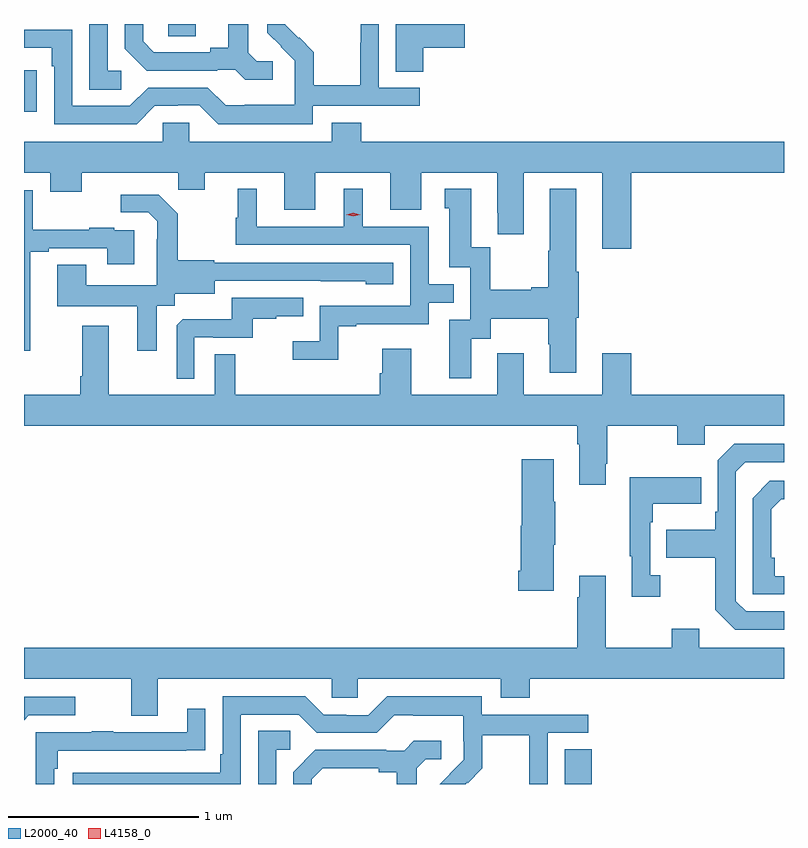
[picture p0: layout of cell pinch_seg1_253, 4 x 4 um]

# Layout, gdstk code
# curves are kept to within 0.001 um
import gdstk
lib = gdstk.Library(unit=1e-6, precision=1e-09)
def R(c, l, rs):  # rectangles x0, y0, x1, y1
    for r in rs: c.add(gdstk.rectangle(r[:2], r[2:], *l))
def P(c, l, *ps):  # polygons
    for p in ps: c.add(gdstk.Polygon(p, *l))
L2000_40 = (2000, 40)
L4158_0 = (4158, 0)

pinch_seg1_253 = lib.new_cell('pinch_seg1_253')
R(pinch_seg1_253, L2000_40, [(889.517,575.155,889.661,575.339), (886.672,578.694,886.739,578.912), (887.43,579.091,887.575,579.155), (888.176,579.153,888.355,579.155)])
P(pinch_seg1_253, L2000_40, [(888.192,578.724),(888.754,578.724),(888.754,578.82),(888.54,578.82),(888.54,579.155),(888.444,579.155),(888.444,579.056),(888.442,579.056),(888.442,578.833),(888.197,578.833),(888.197,579.007),(888.12,579.084),(888.117,579.081),(888.047,579.152),(888.047,579.155),(887.952,579.155),(887.952,579.11),(888.098,578.962),(888.098,578.865),(888.096,578.865),(888.096,578.731),(887.833,578.731),(887.833,578.727),(887.733,578.727),(887.64,578.82),(887.325,578.82),(887.229,578.724),(886.926,578.724),(886.926,579.126),(886.672,579.126),(886.672,579.03),(886.817,579.03),(886.817,578.933),(886.83,578.933),(886.83,578.628),(887.265,578.628),(887.361,578.724),(887.48,578.724),(887.48,578.727),(887.595,578.727),(887.695,578.627),(888.192,578.627)],
  [(887.98,578.958),(887.898,578.958),(887.851,579.005),(887.851,579.155),(887.747,579.155),(887.747,579.029),(887.651,579.029),(887.651,579.006),(887.356,579.006),(887.299,579.063),(887.299,579.155),(887.202,579.155),(887.202,579.026),(887.318,578.91),(887.69,578.91),(887.69,578.913),(887.784,578.913),(887.836,578.861),(887.98,578.861)],
  [(888.773,579.029),(888.991,579.029),(888.991,579.155),(888.629,579.155),(888.629,578.905),(888.773,578.905)],
  [(887.185,578.91),(887.112,578.91),(887.112,579.155),(887.016,579.155),(887.016,578.809),(887.185,578.809)],
  [(888.293,578.635),(888.293,578.536),(887.541,578.536),(887.541,578.634),(887.403,578.634),(887.403,578.536),(886.672,578.536),(886.672,578.372),(886.811,578.372),(886.811,578.273),(886.975,578.273),(886.975,578.372),(887.485,578.372),(887.485,578.282),(887.623,578.282),(887.623,578.372),(888.041,578.372),(888.041,578.178),(888.205,578.178),(888.205,578.372),(888.599,578.372),(888.599,578.178),(888.763,578.178),(888.763,578.372),(889.163,578.372),(889.163,578.161),(889.166,578.161),(889.166,578.049),(889.303,578.049),(889.303,578.372),(889.715,578.372),(889.715,577.971),(889.868,577.971),(889.868,578.372),(890.672,578.372),(890.672,578.536),(888.446,578.536),(888.446,578.635)],
  [(889.027,577.498),(889.129,577.498),(889.129,577.604),(889.432,577.604),(889.432,577.47),(889.439,577.47),(889.439,577.32),(889.579,577.32),(889.579,577.608),(889.592,577.608),(889.592,577.852),(889.579,577.852),(889.579,578.287),(889.439,578.287),(889.439,577.961),(889.432,577.961),(889.432,577.769),(889.343,577.769),(889.343,577.756),(889.125,577.756),(889.125,577.979),(889.027,577.979),(889.027,578.287),(888.887,578.287),(888.887,578.184),(888.911,578.184),(888.911,577.875),(889.02,577.875),(889.02,577.599),(888.911,577.599),(888.911,577.29),(889.027,577.29)],
  [(888.327,577.563),(888.421,577.563),(888.421,577.575),(888.801,577.575),(888.801,577.689),(888.935,577.689),(888.935,577.785),(888.801,577.785),(888.801,578.088),(888.454,578.088),(888.454,578.287),(888.356,578.287),(888.356,578.088),(887.896,578.088),(887.896,578.287),(887.798,578.287),(887.798,578.136),(887.787,578.136),(887.787,577.992),(888.705,577.992),(888.705,577.671),(888.228,577.671),(888.228,577.486),(888.087,577.486),(888.087,577.388),(888.327,577.388)],
  [(886.705,577.956),(886.801,577.956),(886.801,577.974),(887.111,577.974),(887.111,577.89),(887.251,577.89),(887.251,578.07),(887.147,578.07),(887.147,578.083),(887.015,578.083),(887.015,578.072),(886.717,578.072),(886.717,578.28),(886.672,578.28),(886.672,577.434),(886.705,577.434)],
  [(887.371,577.672),(887.466,577.672),(887.466,577.736),(887.677,577.736),(887.677,577.803),(888.471,577.802),(888.471,577.784),(888.616,577.784),(888.616,577.899),(887.673,577.899),(887.673,577.912),(887.481,577.912),(887.481,578.157),(887.381,578.257),(887.181,578.257),(887.181,578.163),(887.325,578.163),(887.372,578.116),(887.372,578.021),(887.37,578.021),(887.37,577.78),(886.999,577.78),(886.999,577.889),(886.847,577.889),(886.847,577.67),(887.267,577.67),(887.267,577.434),(887.371,577.434)],
  [(887.568,577.506),(887.668,577.506),(887.668,577.503),(887.876,577.503),(887.876,577.605),(887.999,577.605),(887.999,577.616),(888.143,577.616),(888.143,577.713),(887.766,577.713),(887.766,577.601),(887.507,577.601),(887.475,577.569),(887.475,577.289),(887.568,577.289)],
  [(889.735,576.841),(889.743,576.841),(889.743,577.04),(890.11,577.04),(890.11,576.941),(890.256,576.941),(890.256,577.04),(890.672,577.04),(890.672,577.204),(889.868,577.204),(889.868,577.423),(889.715,577.423),(889.715,577.204),(889.303,577.204),(889.303,577.423),(889.163,577.423),(889.163,577.204),(888.709,577.204),(888.709,577.447),(888.557,577.447),(888.557,577.317),(888.545,577.317),(888.545,577.204),(887.785,577.204),(887.785,577.418),(887.676,577.418),(887.676,577.204),(887.119,577.204),(887.119,577.567),(886.979,577.567),(886.979,577.3),(886.967,577.3),(886.967,577.204),(886.672,577.204),(886.672,577.04),(889.583,577.04),(889.583,576.944),(889.595,576.944),(889.595,576.729),(889.735,576.729)],
  [(890.672,576.063),(890.472,576.063),(890.418,576.117),(890.418,576.798),(890.469,576.849),(890.672,576.849),(890.672,576.945),(890.409,576.945),(890.322,576.858),(890.322,576.589),(890.31,576.589),(890.31,576.493),(890.053,576.493),(890.053,576.346),(890.31,576.346),(890.31,576.073),(890.415,575.967),(890.672,575.967)],
  [(889.459,576.413),(889.467,576.413),(889.467,576.641),(889.459,576.641),(889.459,576.865),(889.292,576.865),(889.292,576.513),(889.286,576.513),(889.286,576.277),(889.274,576.277),(889.274,576.173),(889.459,576.173)],
  [(890.02,576.254),(889.968,576.254),(889.968,576.533),(889.981,576.533),(889.981,576.629),(890.237,576.629),(890.237,576.769),(889.86,576.769),(889.86,576.353),(889.871,576.353),(889.871,576.141),(890.02,576.141)],
  [(890.672,576.249),(890.624,576.249),(890.624,576.346),(890.604,576.346),(890.604,576.6),(890.657,576.653),(890.672,576.653),(890.672,576.75),(890.598,576.75),(890.508,576.66),(890.508,576.153),(890.672,576.153)],
  [(890.08,575.971),(890.08,575.872),(889.735,575.872),(889.735,576.25),(889.595,576.25),(889.595,576.137),(889.583,576.137),(889.583,575.872),(886.672,575.872),(886.672,575.708),(887.237,575.708),(887.237,575.514),(887.377,575.514),(887.377,575.708),(888.291,575.708),(888.291,575.61),(888.429,575.61),(888.429,575.708),(889.181,575.708),(889.181,575.609),(889.334,575.609),(889.334,575.708),(890.672,575.708),(890.672,575.872),(890.227,575.872),(890.227,575.971)],
  [(887.814,575.52),(888.117,575.52),(888.213,575.424),(888.528,575.424),(888.621,575.517),(888.721,575.517),(888.721,575.513),(888.984,575.513),(888.984,575.379),(888.986,575.379),(888.986,575.282),(888.861,575.155),(888.997,575.155),(889.005,575.163),(889.008,575.16),(889.085,575.237),(889.085,575.412),(889.33,575.412),(889.33,575.188),(889.332,575.188),(889.332,575.155),(889.428,575.155),(889.428,575.424),(889.642,575.424),(889.642,575.52),(889.08,575.52),(889.08,575.617),(888.583,575.617),(888.483,575.517),(888.368,575.517),(888.368,575.52),(888.249,575.52),(888.153,575.616),(887.718,575.616),(887.718,575.311),(887.705,575.311),(887.705,575.214),(886.929,575.214),(886.929,575.155),(887.814,575.155)],
  [(886.698,575.517),(886.942,575.517),(886.942,575.613),(886.672,575.613),(886.672,575.491)],
  [(886.83,575.234),(886.85,575.234),(886.85,575.331),(887.525,575.331),(887.525,575.332),(887.627,575.332),(887.627,575.551),(887.531,575.551),(887.531,575.427),(887.141,575.427),(887.141,575.432),(887.029,575.432),(887.029,575.427),(886.734,575.427),(886.734,575.155),(886.83,575.155)],
  [(888,575.334),(888.073,575.334),(888.073,575.435),(887.904,575.435),(887.904,575.155),(888,575.155)],
  [(888.187,575.181),(888.244,575.238),(888.539,575.238),(888.539,575.216),(888.635,575.216),(888.635,575.155),(888.739,575.155),(888.739,575.239),(888.786,575.286),(888.868,575.286),(888.868,575.383),(888.724,575.383),(888.672,575.331),(888.578,575.331),(888.578,575.334),(888.206,575.334),(888.09,575.218),(888.09,575.155),(888.187,575.155)])
P(pinch_seg1_253, L4158_0, [(888.405,578.142),(888.369,578.151),(888.369,578.152),(888.369,578.152),(888.405,578.162),(888.441,578.152),(888.441,578.152),(888.441,578.151)])

lib.write_gds('pinch_seg1_253.gds')
